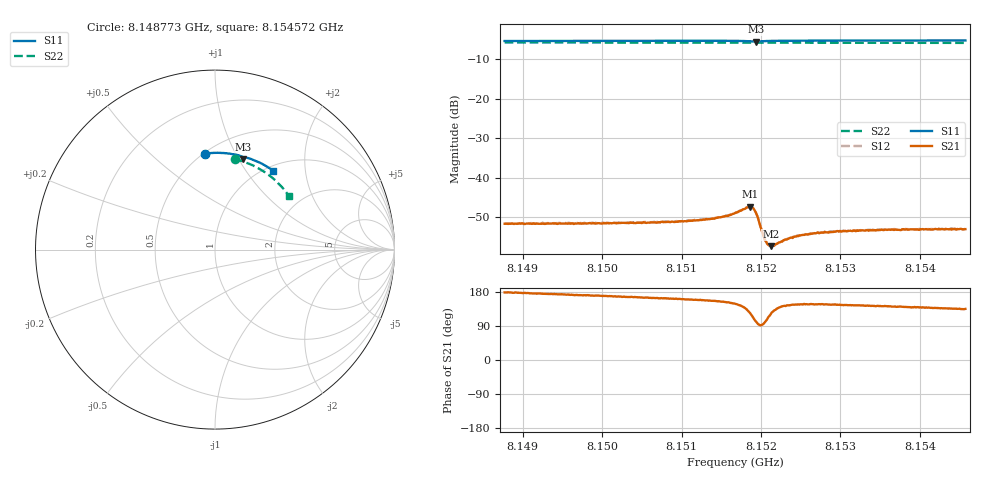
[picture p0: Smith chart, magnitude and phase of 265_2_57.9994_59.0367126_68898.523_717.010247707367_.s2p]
#  HZ  S  RI  R  50.00
! Rohde & Schwarz Vector Network Analyzer
! Rohde-Schwarz,ZNB20-2Port,1311601062101988,3.16
! Created: UTC 3/21/2024, 1:02:08 AM
! freq[Hz]  re:S11  im:S11  re:S21  im:S21  re:S12  im:S12  re:S22  im:S22
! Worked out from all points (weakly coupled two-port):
!   401 points, 8.148773 GHz to 8.154572 GHz, reference 50 ohm
!   highest |S21| = -47.31 dB at 8.151861 GHz (marker M1); lowest = -57.3 dB at 8.152122 GHz (marker M2)
!   lowest |S11| = -5.5 dB at 8.151933 GHz (marker M3), VSWR 3.24, Z = 37.3 + j52.2 ohm
!   |S11| at or under -10 dB: nowhere
!   |S22| runs from -5.9 to -5.7 dB; largest |S21 - S12| = 0.00012
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8.1487732e9  -0.0559 0.5347  -0.00263 7.69e-05  -0.00265 9.41e-05  0.1088 0.5046
8.1497444e9  0.0118 0.5393  -0.00261 0.000408  -0.00263 0.000458  0.1695 0.4864
8.1507157e9  0.0796 0.5349  -0.00263 0.00082  -0.00264 0.000864  0.227 0.4612
8.1509911e9  0.0988 0.5321  -0.00266 0.000929  -0.00266 0.000967  0.2428 0.4529
8.1513825e9  0.1264 0.5265  -0.00278 0.00123  -0.00279 0.00129  0.2644 0.44
8.1516e9  0.1424 0.5219  -0.00296 0.00159  -0.00296 0.00166  0.2762 0.4322
8.1516725e9  0.148 0.5198  -0.00306 0.00186  -0.00304 0.00193  0.2801 0.4297
8.1518029e9  0.1573 0.513  -0.00295 0.00282  -0.00297 0.00294  0.2868 0.4247
8.1518609e9  0.1591 0.5082  -0.00242 0.00357  -0.00238 0.00361  0.2898 0.4224
8.1519044e9  0.1579 0.5051  -0.00144 0.00383  -0.00138 0.00386  0.292 0.4208
8.1519334e9  0.1564 0.5051  -0.000771 0.00359  -0.000698 0.00361  0.2933 0.4197
8.1520204e9  0.1577 0.5107  -0.000122 0.00197  -9.85e-05 0.002  0.2979 0.4169
8.1520494e9  0.16 0.5119  -0.000276 0.0016  -0.000246 0.00164  0.2994 0.4158
8.1520784e9  0.1625 0.5127  -0.000447 0.00138  -0.000465 0.00141  0.3008 0.4146
8.1521219e9  0.1663 0.5129  -0.000701 0.00117  -0.000718 0.00118  0.3031 0.413
8.1521653e9  0.1701 0.5129  -0.000907 0.00104  -0.000911 0.00112  0.3053 0.4112
8.1523103e9  0.1815 0.5108  -0.00131 0.00101  -0.00131 0.00102  0.3128 0.4055
8.1523973e9  0.188 0.509  -0.00144 0.000971  -0.00147 0.00101  0.3172 0.402
8.1526437e9  0.205 0.5032  -0.00166 0.00106  -0.00166 0.00111  0.3291 0.3919
8.1529626e9  0.2261 0.4949  -0.00176 0.00119  -0.00174 0.0012  0.3443 0.3781
8.153615e9  0.2672 0.4753  -0.00174 0.00138  -0.00172 0.00138  0.3732 0.3483
8.1545718e9  0.3235 0.4405  -0.00159 0.00159  -0.00156 0.00166  0.4108 0.3006
